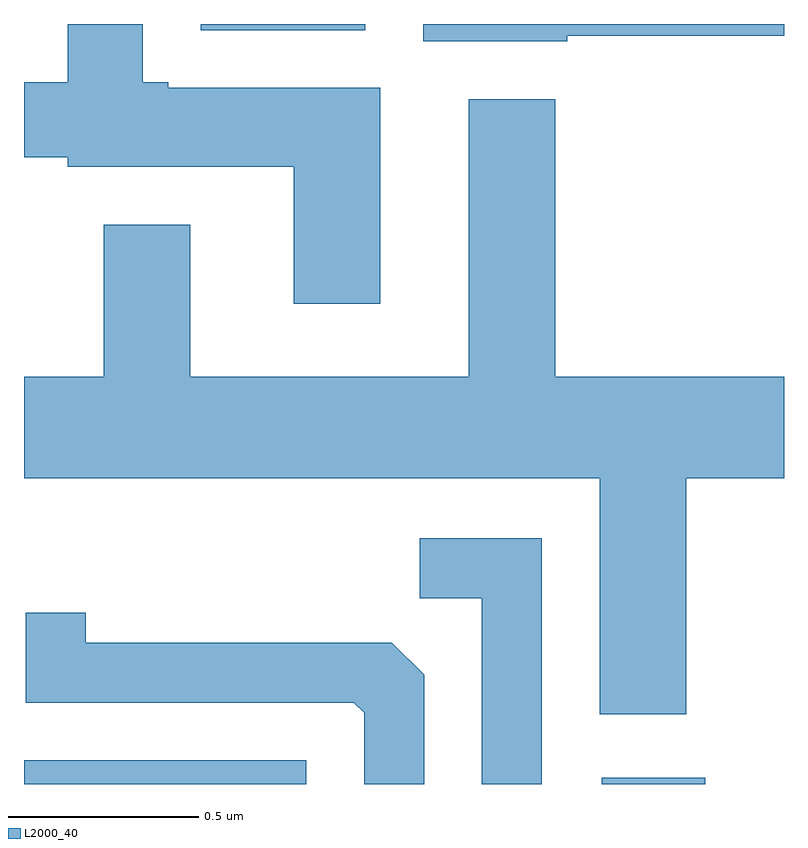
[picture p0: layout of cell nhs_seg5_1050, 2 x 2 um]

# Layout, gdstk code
import gdstk
lib = gdstk.Library(unit=1e-6, precision=1e-09)
def R(c, l, rs):  # rectangles x0, y0, x1, y1
    for r in rs: c.add(gdstk.rectangle(r[:2], r[2:], *l))
def P(c, l, *ps):  # polygons
    for p in ps: c.add(gdstk.Polygon(p, *l))
L2000_40 = (2000, 40)

nhs_seg5_1050 = lib.new_cell('nhs_seg5_1050')
R(nhs_seg5_1050, L2000_40, [(192.611,1487.072,193.354,1487.134), (194.131,1487.072,194.404,1487.089), (193.076,1489.056,193.509,1489.072)])
P(nhs_seg5_1050, L2000_40, [(194.04,1489.041),(194.611,1489.041),(194.611,1489.072),(193.661,1489.072),(193.661,1489.026),(194.04,1489.026)],
  [(193.549,1488.904),(192.99,1488.904),(192.99,1488.919),(192.924,1488.919),(192.924,1489.072),(192.726,1489.072),(192.726,1488.919),(192.611,1488.919),(192.611,1488.721),(192.726,1488.721),(192.726,1488.696),(193.321,1488.696),(193.321,1488.336),(193.549,1488.336)],
  [(194.354,1487.876),(194.611,1487.876),(194.611,1488.144),(194.009,1488.144),(194.009,1488.874),(193.781,1488.874),(193.781,1488.144),(193.049,1488.144),(193.049,1488.544),(192.821,1488.544),(192.821,1488.144),(192.611,1488.144),(192.611,1487.876),(194.126,1487.876),(194.126,1487.256),(194.354,1487.256)],
  [(193.974,1487.719),(193.653,1487.719),(193.653,1487.561),(193.816,1487.561),(193.816,1487.072),(193.974,1487.072)],
  [(193.664,1487.359),(193.579,1487.444),(192.774,1487.444),(192.774,1487.523),(192.616,1487.523),(192.616,1487.286),(193.479,1487.286),(193.506,1487.259),(193.506,1487.072),(193.664,1487.072)])

lib.write_gds('nhs_seg5_1050.gds')
